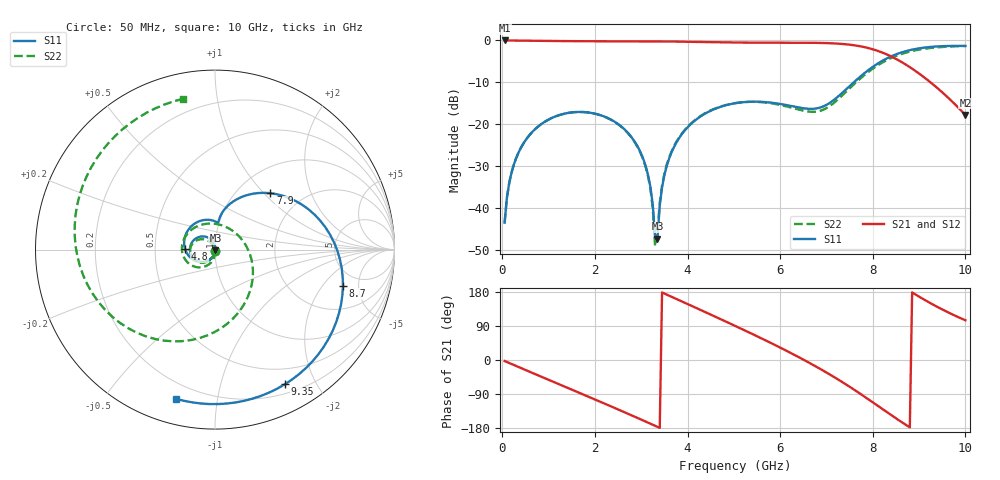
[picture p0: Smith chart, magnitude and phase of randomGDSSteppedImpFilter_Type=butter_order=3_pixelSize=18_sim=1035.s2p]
! freq	dB(S11)	phase(S11)	dB(S12)	phase(S12)
!  dB(S21)	phase(S21)	dB(S22)	phase(S22)
!S-par simulation data
#  GHz  S  DB  R 50
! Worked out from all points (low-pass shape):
!   200 points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, 50 MHz to 10 GHz, reference 50 ohm
!   highest |S21| = 0.00 dB at 50 MHz (marker M1); lowest = -17.8 dB at 10 GHz (marker M2)
!   |S21| within 3 dB of the highest: start of sweep to 8.229 GHz
!   lowest |S11| = -47.4 dB at 3.35 GHz (marker M3), VSWR 1.01, Z = 50.2 - j0.346 ohm
!   |S11| at or under -10 dB: start of sweep to 7.591 GHz
!   |S22| runs from -49.2 to -1.3 dB; largest |S21 - S12| = 0
!   S11 on the Smith chart (normalised r, x): 50 MHz: 1.00, -0.01; 4.8 GHz: 0.71, +0.00; 7.9 GHz: 1.40, +1.09; 8.7 GHz: 3.64, -3.28; 9.35 GHz: 0.30, -1.60; 10 GHz: 0.12, -0.77
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0.05  -43.57 -92.2  -0.00 -2.7  -0.00 -2.7  -43.55 -92.0
0.2  -31.58 -100.8  -0.02 -10.6  -0.02 -10.6  -31.57 -100.1
0.5  -23.90 -117.4  -0.05 -26.3  -0.05 -26.3  -23.90 -115.5
1.15  -18.16 -153.0  -0.13 -60.1  -0.13 -60.1  -18.16 -148.5
1.75  -17.11 174.4  -0.19 -91.1  -0.19 -91.1  -17.12 -178.4
2.9  -24.93 109.2  -0.20 -151.8  -0.20 -151.8  -25.05 125.4
3.2  -35.12 86.7  -0.21 -168.1  -0.21 -168.1  -35.59 115.3
3.3  -47.24 52.6  -0.22 -173.6  -0.22 -173.6  -49.19 146.5
3.35  -47.42 -54.0  -0.22 -176.3  -0.22 -176.3  -46.18 -108.9
3.4  -39.47 -84.4  -0.22 -179.1  -0.22 -179.1  -38.73 -92.7
3.55  -30.05 -101.9  -0.24 172.7  -0.24 172.7  -29.75 -93.4
3.8  -23.66 -118.9  -0.28 158.9  -0.28 158.9  -23.49 -104.2
4.8  -15.58 179.4  -0.46 103.0  -0.46 103.0  -15.52 -153.9
5.05  -14.98 163.9  -0.49 88.8  -0.49 88.8  -14.95 -166.8
6  -15.19 107.5  -0.54 32.8  -0.54 32.8  -15.41 137.2
6.7  -16.35 83.9  -0.56 -12.2  -0.56 -12.2  -17.07 68.5
7.4  -11.94 73.9  -0.90 -62.8  -0.90 -62.8  -12.52 -27.1
7.9  -7.13 45.5  -1.81 -103.3  -1.81 -103.3  -7.56 -80.6
8.35  -4.05 11.4  -3.58 -141.4  -3.58 -141.4  -4.43 -124.0
8.7  -2.60 -15.9  -5.68 -170.0  -5.68 -170.0  -2.95 -155.8
9.35  -1.46 -62.6  -10.96 143.0  -10.96 143.0  -1.69 150.4
10  -1.32 -104.6  -17.80 104.9  -17.80 104.9  -1.32 102.1
